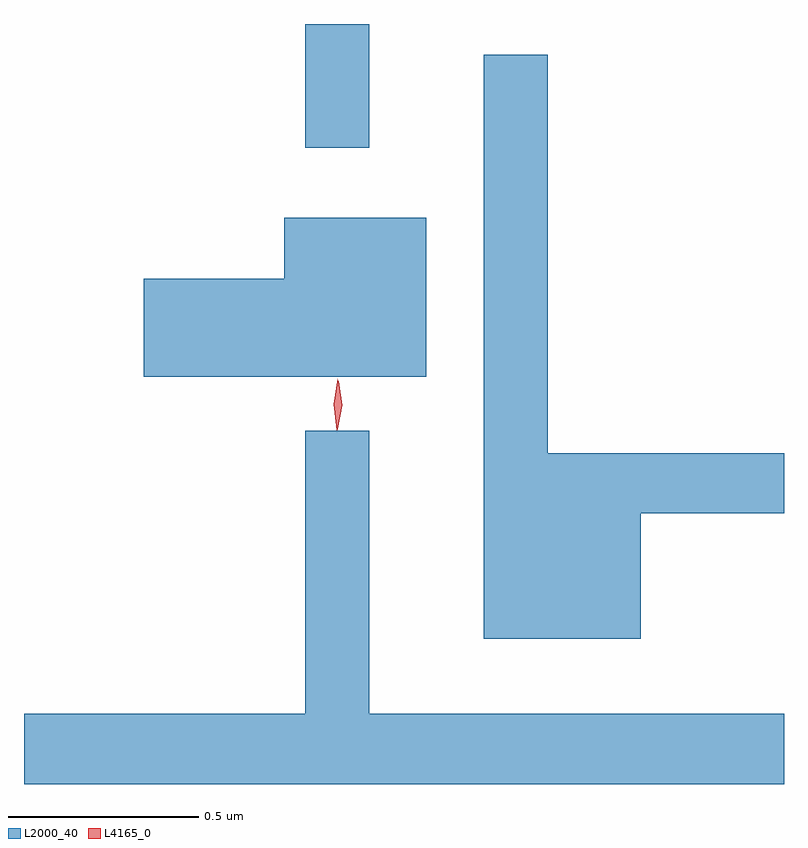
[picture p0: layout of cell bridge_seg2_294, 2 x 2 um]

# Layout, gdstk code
import gdstk
lib = gdstk.Library(unit=1e-6, precision=1e-09)
def R(c, l, rs):  # rectangles x0, y0, x1, y1
    for r in rs: c.add(gdstk.rectangle(r[:2], r[2:], *l))
def P(c, l, *ps):  # polygons
    for p in ps: c.add(gdstk.Polygon(p, *l))
L2000_40 = (2000, 40)
L4165_0 = (4165, 0)

bridge_seg2_294 = lib.new_cell('bridge_seg2_294')
R(bridge_seg2_294, L2000_40, [(598.671,1063.393,598.839,1063.719)])
P(bridge_seg2_294, L2000_40, [(599.554,1062.431),(599.931,1062.431),(599.931,1062.589),(599.309,1062.589),(599.309,1063.638),(599.141,1063.638),(599.141,1062.101),(599.554,1062.101)],
  [(598.989,1063.209),(598.616,1063.209),(598.616,1063.049),(598.246,1063.049),(598.246,1062.791),(598.989,1062.791)],
  [(599.931,1061.904),(598.839,1061.904),(598.839,1062.648),(598.671,1062.648),(598.671,1061.904),(597.931,1061.904),(597.931,1061.719),(599.931,1061.719)])
P(bridge_seg2_294, L4165_0, [(598.756,1062.653),(598.756,1062.654),(598.748,1062.716),(598.758,1062.779),(598.758,1062.78),(598.759,1062.779),(598.768,1062.716),(598.757,1062.654)],
  [(598.754,1062.65),(598.746,1062.718),(598.756,1062.786),(598.757,1062.786),(598.757,1062.786),(598.766,1062.718),(598.755,1062.65),(598.755,1062.65)])

lib.write_gds('bridge_seg2_294.gds')
